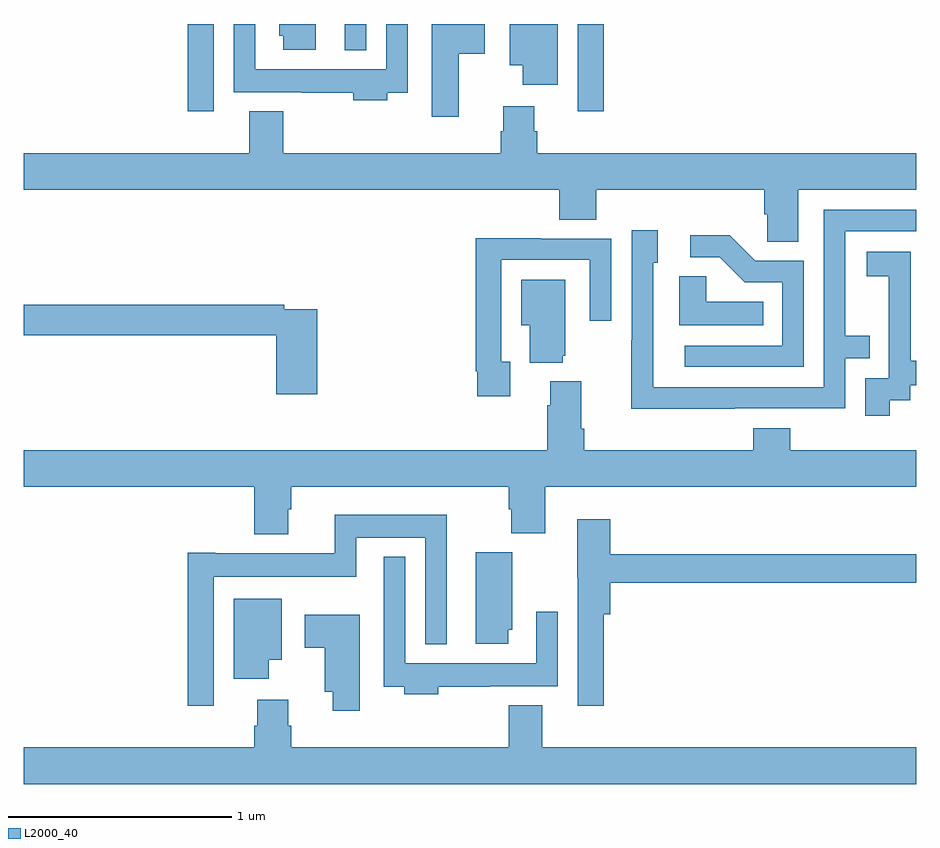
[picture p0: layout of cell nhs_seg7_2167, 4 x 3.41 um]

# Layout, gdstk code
import gdstk
lib = gdstk.Library(unit=1e-6, precision=1e-09)
def R(c, l, rs):  # rectangles x0, y0, x1, y1
    for r in rs: c.add(gdstk.rectangle(r[:2], r[2:], *l))
def P(c, l, *ps):  # polygons
    for p in ps: c.add(gdstk.Polygon(p, *l))
L2000_40 = (2000, 40)

nhs_seg7_2167 = lib.new_cell('nhs_seg7_2167')
R(nhs_seg7_2167, L2000_40, [(253.735,1027.608,253.851,1028), (255.483,1027.608,255.599,1028), (254.438,1027.883,254.535,1028)])
P(nhs_seg7_2167, L2000_40, [(255.394,1028),(255.179,1028),(255.179,1027.814),(255.236,1027.814),(255.236,1027.728),(255.394,1027.728)],
  [(254.95,1027.867),(255.067,1027.867),(255.067,1028),(254.828,1028),(254.828,1027.584),(254.95,1027.584)],
  [(254.308,1028),(254.144,1028),(254.144,1027.947),(254.162,1027.947),(254.162,1027.884),(254.308,1027.884)],
  [(254.629,1027.692),(254.721,1027.692),(254.721,1028),(254.625,1028),(254.625,1027.798),(254.037,1027.798),(254.037,1028),(253.941,1028),(253.941,1027.694),(254.245,1027.694),(254.245,1027.692),(254.477,1027.692),(254.477,1027.658),(254.629,1027.658)],
  [(256.471,1027.256),(257,1027.256),(257,1027.42),(255.302,1027.42),(255.302,1027.518),(255.289,1027.518),(255.289,1027.632),(255.149,1027.632),(255.149,1027.518),(255.137,1027.518),(255.137,1027.42),(254.162,1027.42),(254.162,1027.609),(254.009,1027.609),(254.009,1027.42),(253,1027.42),(253,1027.256),(255.401,1027.256),(255.401,1027.123),(255.566,1027.123),(255.566,1027.256),(256.319,1027.256),(256.319,1027.147),(256.332,1027.147),(256.332,1027.024),(256.471,1027.024)],
  [(256.187,1026.276),(256.683,1026.276),(256.683,1026.501),(256.793,1026.501),(256.793,1026.602),(256.683,1026.602),(256.683,1027.071),(257,1027.071),(257,1027.167),(256.587,1027.167),(256.587,1026.372),(255.822,1026.372),(255.822,1026.93),(255.841,1026.93),(255.841,1027.075),(255.726,1027.075),(255.726,1026.581),(255.724,1026.581),(255.724,1026.275),(256.187,1026.275)],
  [(256.497,1026.939),(256.278,1026.939),(256.165,1027.052),(255.987,1027.052),(255.987,1026.954),(256.121,1026.954),(256.232,1026.843),(256.401,1026.843),(256.401,1026.558),(255.963,1026.558),(255.963,1026.462),(256.497,1026.462)],
  [(255.181,1026.486),(255.141,1026.486),(255.141,1026.942),(255.537,1026.942),(255.537,1026.669),(255.633,1026.669),(255.633,1027.038),(255.317,1027.038),(255.317,1027.04),(255.025,1027.04),(255.025,1026.442),(255.033,1026.442),(255.033,1026.33),(255.181,1026.33)],
  [(256.882,1026.313),(256.974,1026.313),(256.974,1026.381),(257,1026.381),(257,1026.49),(256.976,1026.49),(256.976,1026.773),(256.977,1026.773),(256.977,1026.979),(256.779,1026.979),(256.779,1026.869),(256.877,1026.869),(256.877,1026.641),(256.878,1026.641),(256.878,1026.411),(256.773,1026.411),(256.773,1026.243),(256.882,1026.243)],
  [(256.316,1026.754),(256.059,1026.754),(256.059,1026.869),(255.938,1026.869),(255.938,1026.65),(256.316,1026.65)],
  [(255.416,1026.513),(255.427,1026.513),(255.427,1026.853),(255.23,1026.853),(255.23,1026.65),(255.269,1026.65),(255.269,1026.482),(255.416,1026.482)],
  [(254.315,1026.72),(254.168,1026.72),(254.168,1026.74),(253,1026.74),(253,1026.604),(254.132,1026.604),(254.132,1026.339),(254.315,1026.339)],
  [(254.185,1025.823),(254.198,1025.823),(254.198,1025.924),(255.173,1025.924),(255.173,1025.825),(255.185,1025.825),(255.185,1025.716),(255.338,1025.716),(255.338,1025.924),(257,1025.924),(257,1026.088),(256.436,1026.088),(256.436,1026.187),(256.271,1026.187),(256.271,1026.088),(255.512,1026.088),(255.512,1026.184),(255.499,1026.184),(255.499,1026.397),(255.359,1026.397),(255.359,1026.29),(255.347,1026.29),(255.347,1026.088),(253,1026.088),(253,1025.924),(254.033,1025.924),(254.033,1025.711),(254.185,1025.711)],
  [(253.851,1025.522),(254.49,1025.522),(254.49,1025.696),(254.799,1025.696),(254.799,1025.219),(254.896,1025.219),(254.896,1025.8),(254.393,1025.8),(254.393,1025.626),(253.858,1025.626),(253.858,1025.629),(253.735,1025.629),(253.735,1024.944),(253.851,1024.944)],
  [(255.599,1025.354),(255.629,1025.354),(255.629,1025.494),(257,1025.494),(257,1025.623),(255.629,1025.623),(255.629,1025.779),(255.482,1025.779),(255.482,1025.517),(255.483,1025.517),(255.483,1024.944),(255.599,1024.944)],
  [(255.172,1025.283),(255.19,1025.283),(255.19,1025.631),(255.026,1025.631),(255.026,1025.22),(255.172,1025.22)],
  [(254.858,1025.028),(255.089,1025.028),(255.089,1025.03),(255.393,1025.03),(255.393,1025.365),(255.297,1025.365),(255.297,1025.134),(254.709,1025.134),(254.709,1025.611),(254.613,1025.611),(254.613,1025.028),(254.705,1025.028),(254.705,1024.994),(254.858,1024.994)],
  [(254.098,1025.15),(254.155,1025.15),(254.155,1025.422),(253.94,1025.422),(253.94,1025.064),(254.098,1025.064)],
  [(254.506,1025.35),(254.259,1025.35),(254.259,1025.203),(254.348,1025.203),(254.348,1025.006),(254.384,1025.006),(254.384,1024.92),(254.506,1024.92)],
  [(257,1024.756),(255.325,1024.756),(255.325,1024.945),(255.173,1024.945),(255.173,1024.756),(254.198,1024.756),(254.198,1024.854),(254.185,1024.854),(254.185,1024.969),(254.045,1024.969),(254.045,1024.854),(254.033,1024.854),(254.033,1024.756),(253,1024.756),(253,1024.592),(257,1024.592)])

lib.write_gds('nhs_seg7_2167.gds')
